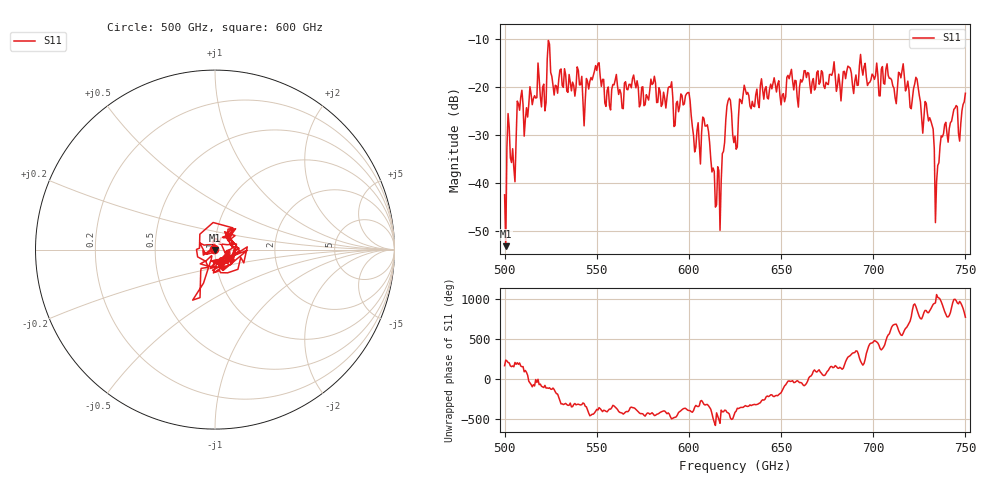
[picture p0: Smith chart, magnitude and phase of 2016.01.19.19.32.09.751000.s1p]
!Created with skrf (http://scikit-rf.org).
# GHz S RI R 50.0
!freq ReS11 ImS11
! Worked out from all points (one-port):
!   401 points, 500 GHz to 750 GHz, reference 50 ohm
!   lowest |S11| = -53.1 dB at 500.6 GHz (marker M1), VSWR 1.00, Z = 49.9 - j0.19 ohm
!   |S11| at or under -10 dB: start of sweep to end of sweep
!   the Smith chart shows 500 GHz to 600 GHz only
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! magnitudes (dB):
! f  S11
! 500 GHz  -42.4
! 500.6 GHz  -53.1
! 502.5 GHz  -28.3
! 505 GHz  -36.8
! 508.1 GHz  -24.8
! 521.2 GHz  -19.3
! 524.4 GHz  -11.0
! 527.5 GHz  -19.6
! 531.2 GHz  -19.6
! 543.8 GHz  -22.7
! 550 GHz  -16.5
! 562.5 GHz  -20.4
! 580.6 GHz  -19.2
! 593.8 GHz  -22.9
! 599.4 GHz  -21.1
! 605 GHz  -27.4
! 608.8 GHz  -28.1
! 615.6 GHz  -36.5
! 621.2 GHz  -22.8
! 625 GHz  -30.2
! 630.6 GHz  -20.5
! 656.2 GHz  -18.7
! 687.5 GHz  -16.0
! 718.8 GHz  -18.7
! 729.4 GHz  -25.4
! 734.4 GHz  -39.6
! 738.1 GHz  -29.7
! 750 GHz  -21.2
